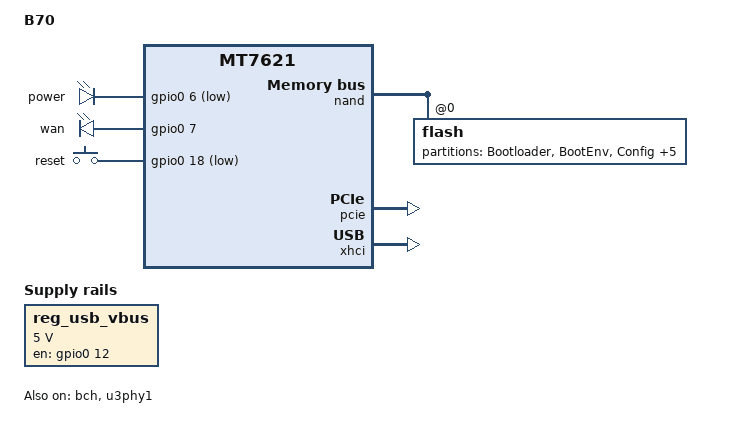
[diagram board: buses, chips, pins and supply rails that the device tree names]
/dts-v1/;

#include "mt7621.dtsi"
#include <dt-bindings/input/input.h>
#include "mt7621-raeth-gmac2.dtsi"
#include "mt7621-pinctrl-default-gpio.dtsi"

/ {
	compatible = "mediatek,mt7621-soc";
	model = "B70";

	chosen {
		bootargs = "console=ttyS0,115200";
	};

	leds {
		compatible = "gpio-leds";

		sys_white {
			label = "power";
			gpios = <&gpio0 6 GPIO_ACTIVE_LOW>;
      linux,default-trigger = "heartbeat";
			default-state = "off";
		};

		sys_red {
			label = "wan";
			gpios = <&gpio0 7 GPIO_ACTIVE_HIGH>;
      default-state = "off";
		};
	};

	gpio-keys-polled {
		compatible = "gpio-keys-polled";
		#address-cells = <1>;
		#size-cells = <0>;
		poll-interval = <20>;

		reset {
			label = "reset";
			gpios = <&gpio0 18 GPIO_ACTIVE_LOW>;
			linux,code = <KEY_RESTART>;
		};
	};

	reg_usb_vbus: regulator {
		compatible = "regulator-fixed";
		regulator-name = "usb_vbus";
		regulator-min-microvolt = <5000000>;
		regulator-max-microvolt = <5000000>;
		gpio = <&gpio0 12 GPIO_ACTIVE_HIGH>;
		enable-active-high;
	};

};

&bch {
	status = "okay";
};

&nand {
	status = "okay";

	flash@0 {
		reg = <0>;
		nand-ecc-mode = "hw";
		partitions {
			compatible = "fixed-partitions";
			#address-cells = <1>;
			#size-cells = <1>;

			partition@0 {
				label = "Bootloader";
				reg = <0x00000 0x0040000>;/* 256k */
				read-only;
			};

			partition@40000 {
				label = "BootEnv";
				reg = <0x40000 0x0040000>;/* 256k */			
			};
      
			partition@80000 {
				label = "Config";
				reg = <0x80000 0x0080000>;/* 512k */
			};

			partition@100000 {
				label = "Factory";
				reg = <0x100000 0x0040000>;/* 256k */
			};

	  	        partition@140000 {
			        label = "Firmware_Stub";
			        reg = <0x140000 0x2000000>; /* 32M */
		        };

		        partition@2140000 {
			        label = "Storage";
			        reg = <0x2140000 0x400000>; /* 4096K */
		        };

		        partition@2540000 {
			        label = "RWFS";
			        reg = <0x2540000 0x5A40000>;
		        }; 
	    
	                partition@all {
				label = "ALL";
				reg = <0x0 0x7f80000>;
			};
		};
	};
};

&pcie {
	status = "okay";
};

&xhci {
	#vbus-supply = <&reg_usb_vbus>;
	status = "okay";
};

&u3phy1 {
	status = "okay";
};
